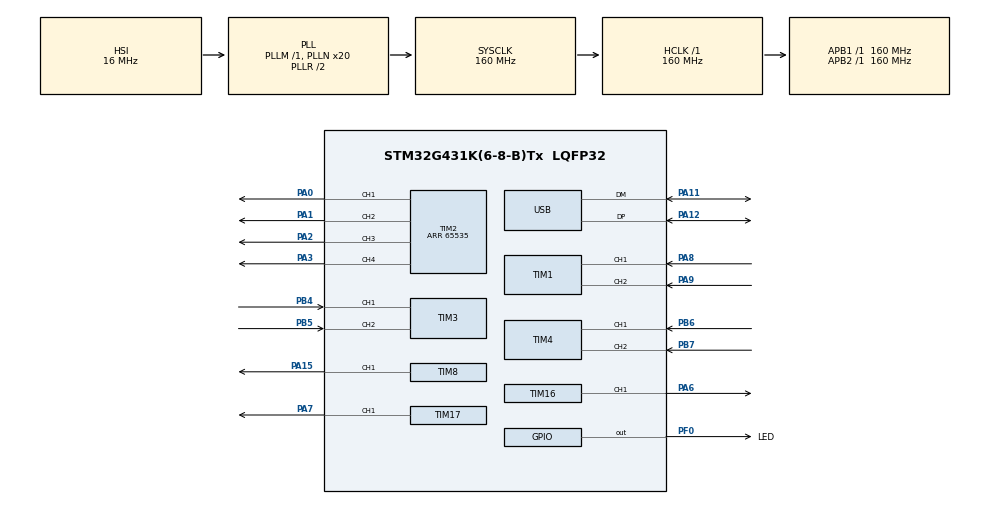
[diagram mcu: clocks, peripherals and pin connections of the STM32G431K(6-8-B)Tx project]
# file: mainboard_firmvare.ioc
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Dma.Request0=TIM8_CH1
Dma.TIM8_CH1.0.Direction=DMA_MEMORY_TO_PERIPH
Dma.TIM8_CH1.0.EventEnable=DISABLE
Dma.TIM8_CH1.0.Instance=DMA1_Channel1
Dma.TIM8_CH1.0.MemDataAlignment=DMA_MDATAALIGN_HALFWORD
Dma.TIM8_CH1.0.MemInc=DMA_MINC_ENABLE
Dma.TIM8_CH1.0.Mode=DMA_CIRCULAR
Dma.TIM8_CH1.0.PeriphDataAlignment=DMA_PDATAALIGN_HALFWORD
Dma.TIM8_CH1.0.PeriphInc=DMA_PINC_DISABLE
Dma.TIM8_CH1.0.Polarity=HAL_DMAMUX_REQ_GEN_RISING
Dma.TIM8_CH1.0.Priority=DMA_PRIORITY_LOW
Dma.TIM8_CH1.0.RequestNumber=1
Dma.TIM8_CH1.0.SignalID=NONE
Dma.TIM8_CH1.0.SyncEnable=DISABLE
Dma.TIM8_CH1.0.SyncPolarity=HAL_DMAMUX_SYNC_NO_EVENT
Dma.TIM8_CH1.0.SyncRequestNumber=1
Dma.TIM8_CH1.0.SyncSignalID=NONE
Mcu.Family=STM32G4
Mcu.Name=STM32G431K(6-8-B)Tx
Mcu.Package=LQFP32
NVIC.DMA1_Channel1_IRQn=true\:0\:0\:false\:false\:true\:false\:true
NVIC.PriorityGroup=NVIC_PRIORITYGROUP_4
NVIC.TIM6_DAC_IRQn=true\:0\:0\:false\:false\:true\:true\:true
NVIC.USB_LP_IRQn=true\:0\:0\:false\:false\:true\:false\:true
PA0.Signal=S_TIM2_CH1
PA1.Signal=S_TIM2_CH2
PA11.Mode=Device
PA11.Signal=USB_DM
PA12.Mode=Device
PA12.Signal=USB_DP
PA13.Mode=Serial_Wire
PA13.Signal=SYS_JTMS-SWDIO
PA14.Mode=Serial_Wire
PA14.Signal=SYS_JTCK-SWCLK
PA15.Signal=S_TIM8_CH1
PA2.Signal=S_TIM2_CH3
PA3.Signal=S_TIM2_CH4
PA6.Signal=S_TIM16_CH1
PA7.Signal=S_TIM17_CH1
PA8.Signal=S_TIM1_CH1
PA9.Signal=S_TIM1_CH2
PB4.Signal=S_TIM3_CH1
PB5.Signal=S_TIM3_CH2
PB6.Signal=S_TIM4_CH1
PB7.Signal=S_TIM4_CH2
PF0-OSC_IN.GPIO_Label=LED
PF0-OSC_IN.Signal=GPIO_Output
ProjectManager.HeapSize=0x200
ProjectManager.StackSize=0x400
ProjectManager.TargetToolchain=STM32CubeIDE
RCC.ADC12Freq_Value=160000000
RCC.AHBFreq_Value=160000000
RCC.APB1Freq_Value=160000000
RCC.APB1TimFreq_Value=160000000
RCC.APB2Freq_Value=160000000
RCC.APB2TimFreq_Value=160000000
RCC.CK48CLockSelection=RCC_USBCLKSOURCE_HSI48
RCC.CortexFreq_Value=160000000
RCC.EXTERNAL_CLOCK_VALUE=12288000
RCC.HCLKFreq_Value=160000000
RCC.HSE_VALUE=8000000
RCC.HSI48_VALUE=48000000
RCC.HSI_VALUE=16000000
RCC.LSE_VALUE=32768
RCC.PLLN=20
RCC.PLLQ=RCC_PLLQ_DIV4
RCC.SYSCLKFreq_VALUE=160000000
RCC.SYSCLKSource=RCC_SYSCLKSOURCE_PLLCLK
RCC.USBFreq_Value=48000000
RCC.VCOOutputFreq_Value=320000000
SH.S_TIM16_CH1.0=TIM16_CH1,PWM Generation1 CH1
SH.S_TIM17_CH1.0=TIM17_CH1,PWM Generation1 CH1
SH.S_TIM1_CH1.0=TIM1_CH1,Encoder_Interface
SH.S_TIM1_CH2.0=TIM1_CH2,Encoder_Interface
SH.S_TIM2_CH1.0=TIM2_CH1,PWM Generation1 CH1
SH.S_TIM2_CH2.0=TIM2_CH2,PWM Generation2 CH2
SH.S_TIM2_CH3.0=TIM2_CH3,PWM Generation3 CH3
SH.S_TIM2_CH4.0=TIM2_CH4,PWM Generation4 CH4
SH.S_TIM3_CH1.0=TIM3_CH1,Encoder_Interface
SH.S_TIM3_CH2.0=TIM3_CH2,Encoder_Interface
SH.S_TIM4_CH1.0=TIM4_CH1,Encoder_Interface
SH.S_TIM4_CH2.0=TIM4_CH2,Encoder_Interface
SH.S_TIM8_CH1.0=TIM8_CH1,PWM Generation1 CH1
TIM1.EncoderMode=TIM_ENCODERMODE_TI12
TIM16.Channel=TIM_CHANNEL_1
TIM17.Channel=TIM_CHANNEL_1
TIM2.Channel-PWM\ Generation1\ CH1=TIM_CHANNEL_1
TIM2.Channel-PWM\ Generation2\ CH2=TIM_CHANNEL_2
TIM2.Channel-PWM\ Generation3\ CH3=TIM_CHANNEL_3
TIM2.Channel-PWM\ Generation4\ CH4=TIM_CHANNEL_4
TIM2.PeriodNoDither=65535
TIM3.EncoderMode=TIM_ENCODERMODE_TI12
TIM4.EncoderMode=TIM_ENCODERMODE_TI12
TIM6.PeriodNoDither=63999
TIM6.Prescaler=24
TIM8.Channel-PWM\ Generation1\ CH1=TIM_CHANNEL_1
TIM8.PeriodNoDither=1066
USB_DEVICE.CLASS_NAME_FS=CDC
USB_DEVICE.VirtualMode=Cdc
USB_DEVICE.VirtualModeFS=Cdc_FS
VP_SYS_VS_DBSignals.Mode=DisableDeadBatterySignals
VP_TIM16_VS_ClockSourceINT.Mode=Enable_Timer
VP_TIM17_VS_ClockSourceINT.Mode=Enable_Timer
VP_TIM6_VS_ClockSourceINT.Mode=Enable_Timer
VP_USB_DEVICE_VS_USB_DEVICE_CDC_FS.Mode=CDC_FS
board=custom

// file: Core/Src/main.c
/* USER CODE BEGIN Header */
/**
  ******************************************************************************
  * @file           : main.c
  * @brief          : Main program body
  ******************************************************************************
  * @attention
  *
  * <h2><center>&copy; Copyright (c) 2020 STMicroelectronics.
  * All rights reserved.</center></h2>
  *
  * This software component is licensed by ST under BSD 3-Clause license,
  * the "License"; You may not use this file except in compliance with the
  * License. You may obtain a copy of the License at:
  *                        opensource.org/licenses/BSD-3-Clause
  *
  ******************************************************************************
  */
/* USER CODE END Header */
#include "main.h"
#include "usb_device.h"

TIM_HandleTypeDef htim1;
TIM_HandleTypeDef htim2;
TIM_HandleTypeDef htim3;
TIM_HandleTypeDef htim4;
TIM_HandleTypeDef htim6;
TIM_HandleTypeDef htim8;
TIM_HandleTypeDef htim16;
TIM_HandleTypeDef htim17;
DMA_HandleTypeDef hdma_tim8_ch1;

void SystemClock_Config(void);
static void MX_GPIO_Init(void);
static void MX_DMA_Init(void);
static void MX_TIM1_Init(void);
static void MX_TIM2_Init(void);
static void MX_TIM3_Init(void);
static void MX_TIM4_Init(void);
static void MX_TIM8_Init(void);
static void MX_TIM16_Init(void);
static void MX_TIM17_Init(void);
static void MX_TIM6_Init(void);

/* USER CODE BEGIN 0 */
typedef struct Command { // (1)
  int16_t speed1;
  int16_t speed2;
  int16_t speed3;
  uint16_t throwerSpeed;
  uint16_t delimiter; // (2)
} Command;

typedef struct Feedback { // (3)
  int16_t speed1;
  int16_t speed2;
  int16_t speed3;
  uint16_t delimiter;
} Feedback;

typedef struct Motor { // (4)
  int16_t kP;
  int16_t kI;
  int32_t errorSum;
  int16_t prev_position;
  int16_t position_change;
  int16_t setpoint;
} Motor;

int32_t clamp(int32_t value, int32_t minValue, int32_t maxValue) {
  if (value > maxValue) {
    return maxValue;
  }

  if (value < minValue) {
    return minValue;
  }

  return value;
}

uint16_t throwerDShotPWMs[20] = {0};

Motor motor1 = {.kP = 9000, .kI = 10, .prev_position = 0, .errorSum = 0};
Motor motor2 = {.kP = 9000, .kI = 10, .prev_position = 0, .errorSum = 0};
Motor motor3 = {.kP = 9000, .kI = 10, .prev_position = 0, .errorSum = 0};

Command command = {.speed1 = 0, .speed2 = 0, .speed3 = 0, .throwerSpeed = 0, .delimiter = 0}; // (4)
volatile uint8_t isCommandReceived = 0; // (5)

void updateDShot(uint16_t throttle) {
  uint16_t packet = throttle << 1;

  // compute checksum
  int csum = 0;
  int csum_data = packet;

  for (int i = 0; i < 3; i++) {
    csum ^= csum_data;   // xor data by nibbles
    csum_data >>= 4;
  }

  csum &= 0xf;
  // append checksum
  packet = (packet << 4) | csum;

  for (int i = 0; i < 16; i++) {
    throwerDShotPWMs[15 - i] = packet & (1 << i) ? 800 : 400;
  }
}

int32_t pid_controller(Motor* motor, int16_t position) {
  motor->position_change = position - motor->prev_position;
  int16_t error = motor->setpoint - motor->position_change;

  motor->prev_position = position;

  if (motor->setpoint == 0) {
    motor->errorSum = 0;
  } else {
    int32_t maxErrorSum = 65535 / motor->kI;
    motor->errorSum += error;
    motor->errorSum = clamp(motor->errorSum, -maxErrorSum, maxErrorSum);
  }

  return motor->kP * error + motor->kI * motor->errorSum;
}

void CDC_On_Receive(uint8_t* buffer, uint32_t* length) { // (6)
  if (*length == sizeof(Command)) { // (7)
    memcpy(&command, buffer, sizeof(Command)); // (8)

    if (command.delimiter == 0xAAAA) { // (9)
      isCommandReceived = 1;
    }
  }
}

void HAL_TIM_PeriodElapsedCallback(TIM_HandleTypeDef *htim) {
  // Motor control calculations can be called from here
  int32_t pwm1 = pid_controller(&motor1, TIM1->CNT);
  int32_t pwm2 = pid_controller(&motor2, TIM3->CNT);
  int32_t pwm3 = pid_controller(&motor3, TIM4->CNT);

  pwm1 = clamp(pwm1, -65535, 65535);
  pwm2 = clamp(pwm2, -65535, 65535);
  pwm3 = clamp(pwm3, -65535, 65535);

  if (pwm1 > 0) {
    TIM2->CCR1 = pwm1;
    TIM2->CCR2 = 0;
  } else {
    TIM2->CCR1 = 0;
    TIM2->CCR2 = -pwm1;
  }

  if (pwm2 > 0) {
    TIM2->CCR3 = pwm2;
    TIM2->CCR4 = 0;
  } else {
    TIM2->CCR3 = 0;
    TIM2->CCR4 = -pwm2;
  }

  if (pwm3 > 0) {
    TIM16->CCR1 = pwm3;
    TIM17->CCR1 = 0;
  } else {
    TIM16->CCR1 = 0;
    TIM17->CCR1 = -pwm3;
  }

}
/* USER CODE END 0 */

int main(void)
{

  /* MCU Configuration--------------------------------------------------------*/

  /* Reset of all peripherals, Initializes the Flash interface and the Systick. */
  HAL_Init();

  /* Configure the system clock */
  SystemClock_Config();

  /* Initialize all configured peripherals */
  MX_GPIO_Init();
  MX_DMA_Init();
  MX_TIM1_Init();
  MX_TIM2_Init();
  MX_TIM3_Init();
  MX_TIM4_Init();
  MX_TIM8_Init();
  MX_TIM16_Init();
  MX_TIM17_Init();
  MX_USB_Device_Init();
  MX_TIM6_Init();
  /* USER CODE BEGIN 2 */

  HAL_TIM_Encoder_Start(&htim1, TIM_CHANNEL_1 | TIM_CHANNEL_2);
  HAL_TIM_Encoder_Start(&htim3, TIM_CHANNEL_1 | TIM_CHANNEL_2);
  HAL_TIM_Encoder_Start(&htim4, TIM_CHANNEL_1 | TIM_CHANNEL_2);

  HAL_TIM_PWM_Start(&htim2, TIM_CHANNEL_1);
  HAL_TIM_PWM_Start(&htim2, TIM_CHANNEL_2);
  HAL_TIM_PWM_Start(&htim2, TIM_CHANNEL_3);
  HAL_TIM_PWM_Start(&htim2, TIM_CHANNEL_4);

  HAL_TIM_PWM_Start(&htim16, TIM_CHANNEL_1);
  HAL_TIM_PWM_Start(&htim17, TIM_CHANNEL_1);

  HAL_TIM_Base_Start_IT(&htim6);

  updateDShot(0);

  HAL_TIM_PWM_Start_DMA(&htim8, TIM_CHANNEL_1, throwerDShotPWMs, sizeof(throwerDShotPWMs) / sizeof(uint16_t));

  Feedback feedback = { // (1)
        .speed1 = 0,
        .speed2 = 0,
        .speed3 = 0,
        .delimiter = 0xAAAA
    };
  /* USER CODE END 2 */

  /* Infinite loop */
  while (1)
  {

    /* USER CODE BEGIN 3 */
    if (isCommandReceived) { // (2)
      isCommandReceived = 0;
      HAL_GPIO_TogglePin(LED_GPIO_Port, LED_Pin); // (3)

      feedback.speed1 = motor1.position_change;
      feedback.speed2 = motor2.position_change;
      feedback.speed3 = motor3.position_change;

      motor1.setpoint = command.speed1;
      motor2.setpoint = command.speed2;
      motor3.setpoint = command.speed3;

      updateDShot(command.throwerSpeed);

      CDC_Transmit_FS(&feedback, sizeof(feedback)); // (5)
      //HAL_Delay(1000);
    }
  }

  /* USER CODE END 3 */
}

void SystemClock_Config(void)
{
  RCC_OscInitTypeDef RCC_OscInitStruct = {0};
  RCC_ClkInitTypeDef RCC_ClkInitStruct = {0};
  RCC_PeriphCLKInitTypeDef PeriphClkInit = {0};

  /** Configure the main internal regulator output voltage
  */
  HAL_PWREx_ControlVoltageScaling(PWR_REGULATOR_VOLTAGE_SCALE1_BOOST);
  /** Initializes the RCC Oscillators according to the specified parameters
  * in the RCC_OscInitTypeDef structure.
  */
  RCC_OscInitStruct.OscillatorType = RCC_OSCILLATORTYPE_HSI|RCC_OSCILLATORTYPE_HSI48;
  RCC_OscInitStruct.HSIState = RCC_HSI_ON;
  RCC_OscInitStruct.HSICalibrationValue = RCC_HSICALIBRATION_DEFAULT;
  RCC_OscInitStruct.HSI48State = RCC_HSI48_ON;
  RCC_OscInitStruct.PLL.PLLState = RCC_PLL_ON;
  RCC_OscInitStruct.PLL.PLLSource = RCC_PLLSOURCE_HSI;
  RCC_OscInitStruct.PLL.PLLM = RCC_PLLM_DIV1;
  RCC_OscInitStruct.PLL.PLLN = 20;
  RCC_OscInitStruct.PLL.PLLP = RCC_PLLP_DIV2;
  RCC_OscInitStruct.PLL.PLLQ = RCC_PLLQ_DIV4;
  RCC_OscInitStruct.PLL.PLLR = RCC_PLLR_DIV2;
  if (HAL_RCC_OscConfig(&RCC_OscInitStruct) != HAL_OK)
  {
    Error_Handler();
  }
  /** Initializes the CPU, AHB and APB buses clocks
  */
  RCC_ClkInitStruct.ClockType = RCC_CLOCKTYPE_HCLK|RCC_CLOCKTYPE_SYSCLK
                              |RCC_CLOCKTYPE_PCLK1|RCC_CLOCKTYPE_PCLK2;
  RCC_ClkInitStruct.SYSCLKSource = RCC_SYSCLKSOURCE_PLLCLK;
  RCC_ClkInitStruct.AHBCLKDivider = RCC_SYSCLK_DIV1;
  RCC_ClkInitStruct.APB1CLKDivider = RCC_HCLK_DIV1;
  RCC_ClkInitStruct.APB2CLKDivider = RCC_HCLK_DIV1;

  if (HAL_RCC_ClockConfig(&RCC_ClkInitStruct, FLASH_LATENCY_4) != HAL_OK)
  {
    Error_Handler();
  }
  /** Initializes the peripherals clocks
  */
  PeriphClkInit.PeriphClockSelection = RCC_PERIPHCLK_USB;
  PeriphClkInit.UsbClockSelection = RCC_USBCLKSOURCE_HSI48;
  if (HAL_RCCEx_PeriphCLKConfig(&PeriphClkInit) != HAL_OK)
  {
    Error_Handler();
  }
}

static void MX_TIM1_Init(void)
{

  TIM_Encoder_InitTypeDef sConfig = {0};
  TIM_MasterConfigTypeDef sMasterConfig = {0};
  TIM_BreakDeadTimeConfigTypeDef sBreakDeadTimeConfig = {0};

  htim1.Instance = TIM1;
  htim1.Init.Prescaler = 0;
  htim1.Init.CounterMode = TIM_COUNTERMODE_UP;
  htim1.Init.Period = 65535;
  htim1.Init.ClockDivision = TIM_CLOCKDIVISION_DIV1;
  htim1.Init.RepetitionCounter = 0;
  htim1.Init.AutoReloadPreload = TIM_AUTORELOAD_PRELOAD_DISABLE;
  sConfig.EncoderMode = TIM_ENCODERMODE_TI12;
  sConfig.IC1Polarity = TIM_ICPOLARITY_RISING;
  sConfig.IC1Selection = TIM_ICSELECTION_DIRECTTI;
  sConfig.IC1Prescaler = TIM_ICPSC_DIV1;
  sConfig.IC1Filter = 0;
  sConfig.IC2Polarity = TIM_ICPOLARITY_RISING;
  sConfig.IC2Selection = TIM_ICSELECTION_DIRECTTI;
  sConfig.IC2Prescaler = TIM_ICPSC_DIV1;
  sConfig.IC2Filter = 0;
  if (HAL_TIM_Encoder_Init(&htim1, &sConfig) != HAL_OK)
  {
    Error_Handler();
  }
  sMasterConfig.MasterOutputTrigger = TIM_TRGO_RESET;
  sMasterConfig.MasterOutputTrigger2 = TIM_TRGO2_RESET;
  sMasterConfig.MasterSlaveMode = TIM_MASTERSLAVEMODE_DISABLE;
  if (HAL_TIMEx_MasterConfigSynchronization(&htim1, &sMasterConfig) != HAL_OK)
  {
    Error_Handler();
  }
  sBreakDeadTimeConfig.BreakAFMode = TIM_BREAK_AFMODE_INPUT;
  sBreakDeadTimeConfig.Break2AFMode = TIM_BREAK_AFMODE_INPUT;
  if (HAL_TIMEx_ConfigBreakDeadTime(&htim1, &sBreakDeadTimeConfig) != HAL_OK)
  {
    Error_Handler();
  }

}

static void MX_TIM2_Init(void)
{

  TIM_MasterConfigTypeDef sMasterConfig = {0};
  TIM_OC_InitTypeDef sConfigOC = {0};

  htim2.Instance = TIM2;
  htim2.Init.Prescaler = 0;
  htim2.Init.CounterMode = TIM_COUNTERMODE_UP;
  htim2.Init.Period = 65535;
  htim2.Init.ClockDivision = TIM_CLOCKDIVISION_DIV1;
  htim2.Init.AutoReloadPreload = TIM_AUTORELOAD_PRELOAD_DISABLE;
  if (HAL_TIM_PWM_Init(&htim2) != HAL_OK)
  {
    Error_Handler();
  }
  sMasterConfig.MasterOutputTrigger = TIM_TRGO_RESET;
  sMasterConfig.MasterSlaveMode = TIM_MASTERSLAVEMODE_DISABLE;
  if (HAL_TIMEx_MasterConfigSynchronization(&htim2, &sMasterConfig) != HAL_OK)
  {
    Error_Handler();
  }
  sConfigOC.OCMode = TIM_OCMODE_PWM1;
  sConfigOC.Pulse = 0;
  sConfigOC.OCPolarity = TIM_OCPOLARITY_HIGH;
  sConfigOC.OCFastMode = TIM_OCFAST_DISABLE;
  if (HAL_TIM_PWM_ConfigChannel(&htim2, &sConfigOC, TIM_CHANNEL_1) != HAL_OK)
  {
    Error_Handler();
  }
  sConfigOC.Pulse = 0;
  if (HAL_TIM_PWM_ConfigChannel(&htim2, &sConfigOC, TIM_CHANNEL_2) != HAL_OK)
  {
    Error_Handler();
  }
  sConfigOC.Pulse = 0;
  if (HAL_TIM_PWM_ConfigChannel(&htim2, &sConfigOC, TIM_CHANNEL_3) != HAL_OK)
  {
    Error_Handler();
  }
  sConfigOC.Pulse = 0;
  if (HAL_TIM_PWM_ConfigChannel(&htim2, &sConfigOC, TIM_CHANNEL_4) != HAL_OK)
  {
    Error_Handler();
  }
  HAL_TIM_MspPostInit(&htim2);

}

static void MX_TIM3_Init(void)
{

  TIM_Encoder_InitTypeDef sConfig = {0};
  TIM_MasterConfigTypeDef sMasterConfig = {0};

  htim3.Instance = TIM3;
  htim3.Init.Prescaler = 0;
  htim3.Init.CounterMode = TIM_COUNTERMODE_UP;
  htim3.Init.Period = 65535;
  htim3.Init.ClockDivision = TIM_CLOCKDIVISION_DIV1;
  htim3.Init.AutoReloadPreload = TIM_AUTORELOAD_PRELOAD_DISABLE;
  sConfig.EncoderMode = TIM_ENCODERMODE_TI12;
  sConfig.IC1Polarity = TIM_ICPOLARITY_RISING;
  sConfig.IC1Selection = TIM_ICSELECTION_DIRECTTI;
  sConfig.IC1Prescaler = TIM_ICPSC_DIV1;
  sConfig.IC1Filter = 0;
  sConfig.IC2Polarity = TIM_ICPOLARITY_RISING;
  sConfig.IC2Selection = TIM_ICSELECTION_DIRECTTI;
  sConfig.IC2Prescaler = TIM_ICPSC_DIV1;
  sConfig.IC2Filter = 0;
  if (HAL_TIM_Encoder_Init(&htim3, &sConfig) != HAL_OK)
  {
    Error_Handler();
  }
  sMasterConfig.MasterOutputTrigger = TIM_TRGO_RESET;
  sMasterConfig.MasterSlaveMode = TIM_MASTERSLAVEMODE_DISABLE;
  if (HAL_TIMEx_MasterConfigSynchronization(&htim3, &sMasterConfig) != HAL_OK)
  {
    Error_Handler();
  }

}

static void MX_TIM4_Init(void)
{

  TIM_Encoder_InitTypeDef sConfig = {0};
  TIM_MasterConfigTypeDef sMasterConfig = {0};

  htim4.Instance = TIM4;
  htim4.Init.Prescaler = 0;
  htim4.Init.CounterMode = TIM_COUNTERMODE_UP;
  htim4.Init.Period = 65535;
  htim4.Init.ClockDivision = TIM_CLOCKDIVISION_DIV1;
  htim4.Init.AutoReloadPreload = TIM_AUTORELOAD_PRELOAD_DISABLE;
  sConfig.EncoderMode = TIM_ENCODERMODE_TI12;
  sConfig.IC1Polarity = TIM_ICPOLARITY_RISING;
  sConfig.IC1Selection = TIM_ICSELECTION_DIRECTTI;
  sConfig.IC1Prescaler = TIM_ICPSC_DIV1;
  sConfig.IC1Filter = 0;
  sConfig.IC2Polarity = TIM_ICPOLARITY_RISING;
  sConfig.IC2Selection = TIM_ICSELECTION_DIRECTTI;
  sConfig.IC2Prescaler = TIM_ICPSC_DIV1;
  sConfig.IC2Filter = 0;
  if (HAL_TIM_Encoder_Init(&htim4, &sConfig) != HAL_OK)
  {
    Error_Handler();
  }
  sMasterConfig.MasterOutputTrigger = TIM_TRGO_RESET;
  sMasterConfig.MasterSlaveMode = TIM_MASTERSLAVEMODE_DISABLE;
  if (HAL_TIMEx_MasterConfigSynchronization(&htim4, &sMasterConfig) != HAL_OK)
  {
    Error_Handler();
  }

}

static void MX_TIM6_Init(void)
{

  TIM_MasterConfigTypeDef sMasterConfig = {0};

  htim6.Instance = TIM6;
  htim6.Init.Prescaler = 24;
  htim6.Init.CounterMode = TIM_COUNTERMODE_UP;
  htim6.Init.Period = 63999;
  htim6.Init.AutoReloadPreload = TIM_AUTORELOAD_PRELOAD_DISABLE;
  if (HAL_TIM_Base_Init(&htim6) != HAL_OK)
  {
    Error_Handler();
  }
  sMasterConfig.MasterOutputTrigger = TIM_TRGO_RESET;
  sMasterConfig.MasterSlaveMode = TIM_MASTERSLAVEMODE_DISABLE;
  if (HAL_TIMEx_MasterConfigSynchronization(&htim6, &sMasterConfig) != HAL_OK)
  {
    Error_Handler();
  }

}

static void MX_TIM8_Init(void)
{

  TIM_MasterConfigTypeDef sMasterConfig = {0};
  TIM_OC_InitTypeDef sConfigOC = {0};
  TIM_BreakDeadTimeConfigTypeDef sBreakDeadTimeConfig = {0};

  htim8.Instance = TIM8;
  htim8.Init.Prescaler = 0;
  htim8.Init.CounterMode = TIM_COUNTERMODE_UP;
  htim8.Init.Period = 1066;
  htim8.Init.ClockDivision = TIM_CLOCKDIVISION_DIV1;
  htim8.Init.RepetitionCounter = 0;
  htim8.Init.AutoReloadPreload = TIM_AUTORELOAD_PRELOAD_DISABLE;
  if (HAL_TIM_PWM_Init(&htim8) != HAL_OK)
  {
    Error_Handler();
  }
  sMasterConfig.MasterOutputTrigger = TIM_TRGO_RESET;
  sMasterConfig.MasterOutputTrigger2 = TIM_TRGO2_RESET;
  sMasterConfig.MasterSlaveMode = TIM_MASTERSLAVEMODE_DISABLE;
  if (HAL_TIMEx_MasterConfigSynchronization(&htim8, &sMasterConfig) != HAL_OK)
  {
    Error_Handler();
  }
  sConfigOC.OCMode = TIM_OCMODE_PWM1;
  sConfigOC.Pulse = 0;
  sConfigOC.OCPolarity = TIM_OCPOLARITY_HIGH;
  sConfigOC.OCNPolarity = TIM_OCNPOLARITY_HIGH;
  sConfigOC.OCFastMode = TIM_OCFAST_DISABLE;
  sConfigOC.OCIdleState = TIM_OCIDLESTATE_RESET;
  sConfigOC.OCNIdleState = TIM_OCNIDLESTATE_RESET;
  if (HAL_TIM_PWM_ConfigChannel(&htim8, &sConfigOC, TIM_CHANNEL_1) != HAL_OK)
  {
    Error_Handler();
  }
  sBreakDeadTimeConfig.OffStateRunMode = TIM_OSSR_DISABLE;
  sBreakDeadTimeConfig.OffStateIDLEMode = TIM_OSSI_DISABLE;
  sBreakDeadTimeConfig.LockLevel = TIM_LOCKLEVEL_OFF;
  sBreakDeadTimeConfig.DeadTime = 0;
  sBreakDeadTimeConfig.BreakState = TIM_BREAK_DISABLE;
  sBreakDeadTimeConfig.BreakPolarity = TIM_BREAKPOLARITY_HIGH;
  sBreakDeadTimeConfig.BreakFilter = 0;
  sBreakDeadTimeConfig.BreakAFMode = TIM_BREAK_AFMODE_INPUT;
  sBreakDeadTimeConfig.Break2State = TIM_BREAK2_DISABLE;
  sBreakDeadTimeConfig.Break2Polarity = TIM_BREAK2POLARITY_HIGH;
  sBreakDeadTimeConfig.Break2Filter = 0;
  sBreakDeadTimeConfig.Break2AFMode = TIM_BREAK_AFMODE_INPUT;
  sBreakDeadTimeConfig.AutomaticOutput = TIM_AUTOMATICOUTPUT_DISABLE;
  if (HAL_TIMEx_ConfigBreakDeadTime(&htim8, &sBreakDeadTimeConfig) != HAL_OK)
  {
    Error_Handler();
  }
  HAL_TIM_MspPostInit(&htim8);

}

static void MX_TIM16_Init(void)
{

  TIM_OC_InitTypeDef sConfigOC = {0};
  TIM_BreakDeadTimeConfigTypeDef sBreakDeadTimeConfig = {0};

  htim16.Instance = TIM16;
  htim16.Init.Prescaler = 0;
  htim16.Init.CounterMode = TIM_COUNTERMODE_UP;
  htim16.Init.Period = 65535;
  htim16.Init.ClockDivision = TIM_CLOCKDIVISION_DIV1;
  htim16.Init.RepetitionCounter = 0;
  htim16.Init.AutoReloadPreload = TIM_AUTORELOAD_PRELOAD_DISABLE;
  if (HAL_TIM_Base_Init(&htim16) != HAL_OK)
  {
    Error_Handler();
  }
  if (HAL_TIM_PWM_Init(&htim16) != HAL_OK)
  {
    Error_Handler();
  }
  sConfigOC.OCMode = TIM_OCMODE_PWM1;
  sConfigOC.Pulse = 0;
  sConfigOC.OCPolarity = TIM_OCPOLARITY_HIGH;
  sConfigOC.OCNPolarity = TIM_OCNPOLARITY_HIGH;
  sConfigOC.OCFastMode = TIM_OCFAST_DISABLE;
  sConfigOC.OCIdleState = TIM_OCIDLESTATE_RESET;
  sConfigOC.OCNIdleState = TIM_OCNIDLESTATE_RESET;
  if (HAL_TIM_PWM_ConfigChannel(&htim16, &sConfigOC, TIM_CHANNEL_1) != HAL_OK)
  {
    Error_Handler();
  }
  sBreakDeadTimeConfig.OffStateRunMode = TIM_OSSR_DISABLE;
  sBreakDeadTimeConfig.OffStateIDLEMode = TIM_OSSI_DISABLE;
  sBreakDeadTimeConfig.LockLevel = TIM_LOCKLEVEL_OFF;
  sBreakDeadTimeConfig.DeadTime = 0;
  sBreakDeadTimeConfig.BreakState = TIM_BREAK_DISABLE;
  sBreakDeadTimeConfig.BreakPolarity = TIM_BREAKPOLARITY_HIGH;
  sBreakDeadTimeConfig.BreakFilter = 0;
  sBreakDeadTimeConfig.AutomaticOutput = TIM_AUTOMATICOUTPUT_DISABLE;
  if (HAL_TIMEx_ConfigBreakDeadTime(&htim16, &sBreakDeadTimeConfig) != HAL_OK)
  {
    Error_Handler();
  }
  HAL_TIM_MspPostInit(&htim16);

}

static void MX_TIM17_Init(void)
{

  TIM_OC_InitTypeDef sConfigOC = {0};
  TIM_BreakDeadTimeConfigTypeDef sBreakDeadTimeConfig = {0};

  htim17.Instance = TIM17;
  htim17.Init.Prescaler = 0;
  htim17.Init.CounterMode = TIM_COUNTERMODE_UP;
  htim17.Init.Period = 65535;
  htim17.Init.ClockDivision = TIM_CLOCKDIVISION_DIV1;
  htim17.Init.RepetitionCounter = 0;
  htim17.Init.AutoReloadPreload = TIM_AUTORELOAD_PRELOAD_DISABLE;
  if (HAL_TIM_Base_Init(&htim17) != HAL_OK)
  {
    Error_Handler();
  }
  if (HAL_TIM_PWM_Init(&htim17) != HAL_OK)
  {
    Error_Handler();
  }
  sConfigOC.OCMode = TIM_OCMODE_PWM1;
  sConfigOC.Pulse = 0;
  sConfigOC.OCPolarity = TIM_OCPOLARITY_HIGH;
  sConfigOC.OCNPolarity = TIM_OCNPOLARITY_HIGH;
  sConfigOC.OCFastMode = TIM_OCFAST_DISABLE;
  sConfigOC.OCIdleState = TIM_OCIDLESTATE_RESET;
  sConfigOC.OCNIdleState = TIM_OCNIDLESTATE_RESET;
  if (HAL_TIM_PWM_ConfigChannel(&htim17, &sConfigOC, TIM_CHANNEL_1) != HAL_OK)
  {
    Error_Handler();
  }
  sBreakDeadTimeConfig.OffStateRunMode = TIM_OSSR_DISABLE;
  sBreakDeadTimeConfig.OffStateIDLEMode = TIM_OSSI_DISABLE;
  sBreakDeadTimeConfig.LockLevel = TIM_LOCKLEVEL_OFF;
  sBreakDeadTimeConfig.DeadTime = 0;
  sBreakDeadTimeConfig.BreakState = TIM_BREAK_DISABLE;
  sBreakDeadTimeConfig.BreakPolarity = TIM_BREAKPOLARITY_HIGH;
  sBreakDeadTimeConfig.BreakFilter = 0;
  sBreakDeadTimeConfig.AutomaticOutput = TIM_AUTOMATICOUTPUT_DISABLE;
  if (HAL_TIMEx_ConfigBreakDeadTime(&htim17, &sBreakDeadTimeConfig) != HAL_OK)
  {
    Error_Handler();
  }
  HAL_TIM_MspPostInit(&htim17);

}

static void MX_DMA_Init(void)
{

  /* DMA controller clock enable */
  __HAL_RCC_DMAMUX1_CLK_ENABLE();
  __HAL_RCC_DMA1_CLK_ENABLE();

  /* DMA interrupt init */
  /* DMA1_Channel1_IRQn interrupt configuration */
  HAL_NVIC_SetPriority(DMA1_Channel1_IRQn, 0, 0);
  HAL_NVIC_EnableIRQ(DMA1_Channel1_IRQn);

}

static void MX_GPIO_Init(void)
{
  GPIO_InitTypeDef GPIO_InitStruct = {0};

  /* GPIO Ports Clock Enable */
  __HAL_RCC_GPIOF_CLK_ENABLE();
  __HAL_RCC_GPIOA_CLK_ENABLE();
  __HAL_RCC_GPIOB_CLK_ENABLE();

  /*Configure GPIO pin Output Level */
  HAL_GPIO_WritePin(LED_GPIO_Port, LED_Pin, GPIO_PIN_RESET);

  /*Configure GPIO pin : LED_Pin */
  GPIO_InitStruct.Pin = LED_Pin;
  GPIO_InitStruct.Mode = GPIO_MODE_OUTPUT_PP;
  GPIO_InitStruct.Pull = GPIO_NOPULL;
  GPIO_InitStruct.Speed = GPIO_SPEED_FREQ_LOW;
  HAL_GPIO_Init(LED_GPIO_Port, &GPIO_InitStruct);

}

void Error_Handler(void)
{
}

/************************ (C) COPYRIGHT STMicroelectronics *****END OF FILE****/
